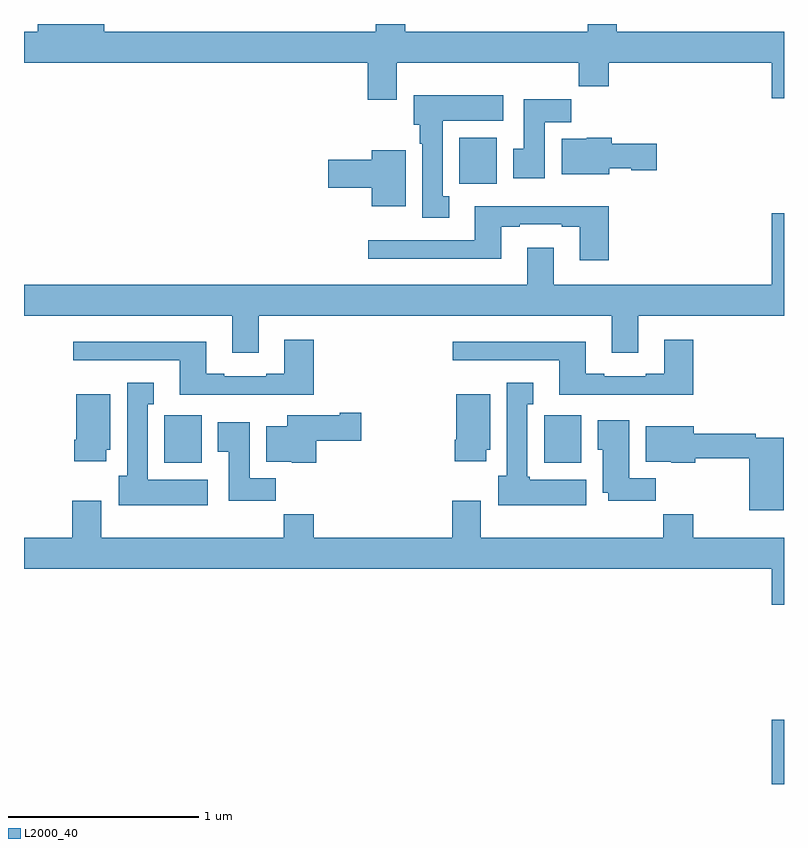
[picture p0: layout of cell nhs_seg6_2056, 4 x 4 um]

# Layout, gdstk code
import gdstk
lib = gdstk.Library(unit=1e-6, precision=1e-09)
def R(c, l, rs):  # rectangles x0, y0, x1, y1
    for r in rs: c.add(gdstk.rectangle(r[:2], r[2:], *l))
def P(c, l, *ps):  # polygons
    for p in ps: c.add(gdstk.Polygon(p, *l))
L2000_40 = (2000, 40)

nhs_seg6_2056 = lib.new_cell('nhs_seg6_2056')
R(nhs_seg6_2056, L2000_40, [(236.936,983.5,237,983.839), (233.739,985.19,233.935,985.44), (235.737,985.19,235.933,985.44), (235.292,986.66,235.489,986.902)])
P(nhs_seg6_2056, L2000_40, [(234.961,987.296),(235.921,987.296),(235.921,987.172),(236.078,987.172),(236.078,987.296),(236.936,987.296),(236.936,987.108),(237,987.108),(237,987.46),(236.12,987.46),(236.12,987.5),(235.967,987.5),(235.967,987.46),(235.007,987.46),(235.007,987.5),(234.851,987.5),(234.851,987.46),(233.422,987.46),(233.422,987.5),(233.072,987.5),(233.072,987.46),(233,987.46),(233,987.296),(234.809,987.296),(234.809,987.102),(234.961,987.102)],
  [(235.237,986.594),(235.204,986.594),(235.204,986.99),(235.522,986.99),(235.522,987.124),(235.052,987.124),(235.052,986.97),(235.082,986.97),(235.082,986.87),(235.097,986.87),(235.097,986.481),(235.237,986.481)],
  [(235.741,986.984),(235.88,986.984),(235.88,987.103),(235.631,987.103),(235.631,986.844),(235.574,986.844),(235.574,986.688),(235.741,986.688)],
  [(236.08,986.741),(236.196,986.741),(236.196,986.729),(236.329,986.729),(236.329,986.871),(236.093,986.871),(236.093,986.902),(235.962,986.902),(235.962,986.896),(235.829,986.896),(235.829,986.708),(236.08,986.708)],
  [(235.009,986.836),(234.83,986.836),(234.83,986.786),(234.6,986.786),(234.6,986.639),(234.83,986.639),(234.83,986.54),(235.009,986.54)],
  [(236.078,986.542),(235.373,986.542),(235.373,986.361),(234.813,986.361),(234.813,986.264),(235.513,986.264),(235.513,986.433),(235.609,986.433),(235.609,986.445),(235.829,986.445),(235.829,986.433),(235.925,986.433),(235.925,986.256),(236.078,986.256)],
  [(234.235,985.964),(236.093,985.964),(236.093,985.77),(236.233,985.77),(236.233,985.964),(237,985.964),(237,986.503),(236.936,986.503),(236.936,986.128),(235.789,986.128),(235.789,986.323),(235.649,986.323),(235.649,986.128),(233,986.128),(233,985.964),(234.095,985.964),(234.095,985.77),(234.235,985.77)],
  [(236.522,985.837),(236.369,985.837),(236.369,985.66),(236.273,985.66),(236.273,985.647),(236.053,985.647),(236.053,985.66),(235.957,985.66),(235.957,985.828),(235.257,985.828),(235.257,985.731),(235.817,985.731),(235.817,985.55),(236.522,985.55)],
  [(234.524,985.837),(234.371,985.837),(234.371,985.66),(234.275,985.66),(234.275,985.647),(234.055,985.647),(234.055,985.66),(233.959,985.66),(233.959,985.828),(233.259,985.828),(233.259,985.731),(233.819,985.731),(233.819,985.55),(234.524,985.55)],
  [(233.968,985.102),(233.65,985.102),(233.65,985.499),(233.683,985.499),(233.683,985.612),(233.543,985.612),(233.543,985.122),(233.498,985.122),(233.498,984.968),(233.968,984.968)],
  [(235.96,985.102),(235.662,985.102),(235.662,985.116),(235.648,985.116),(235.648,985.499),(235.681,985.499),(235.681,985.612),(235.541,985.612),(235.541,985.122),(235.496,985.122),(235.496,984.968),(235.96,984.968)],
  [(235.432,985.26),(235.453,985.26),(235.453,985.552),(235.274,985.552),(235.274,985.312),(235.267,985.312),(235.267,985.2),(235.432,985.2)],
  [(233.434,985.26),(233.455,985.26),(233.455,985.552),(233.276,985.552),(233.276,985.312),(233.264,985.312),(233.264,985.2),(233.434,985.2)],
  [(234.539,985.307),(234.775,985.307),(234.775,985.454),(234.662,985.454),(234.662,985.441),(234.386,985.441),(234.386,985.384),(234.275,985.384),(234.275,985.196),(234.408,985.196),(234.408,985.19),(234.539,985.19)],
  [(236.324,985.108),(236.185,985.108),(236.185,985.414),(236.021,985.414),(236.021,985.26),(236.045,985.26),(236.045,985.034),(236.075,985.034),(236.075,984.99),(236.324,984.99)],
  [(234.326,985.108),(234.187,985.108),(234.187,985.405),(234.02,985.405),(234.02,985.249),(234.077,985.249),(234.077,984.99),(234.326,984.99)],
  [(236.999,985.323),(236.852,985.323),(236.852,985.343),(236.524,985.343),(236.524,985.384),(236.273,985.384),(236.273,985.196),(236.406,985.196),(236.406,985.19),(236.532,985.19),(236.532,985.215),(236.816,985.215),(236.816,984.942),(236.999,984.942)],
  [(237,984.796),(236.522,984.796),(236.522,984.92),(236.365,984.92),(236.365,984.796),(235.405,984.796),(235.405,984.991),(235.253,984.991),(235.253,984.796),(234.524,984.796),(234.524,984.92),(234.367,984.92),(234.367,984.796),(233.407,984.796),(233.407,984.991),(233.255,984.991),(233.255,984.796),(233,984.796),(233,984.632),(236.936,984.632),(236.936,984.444),(237,984.444)])

lib.write_gds('nhs_seg6_2056.gds')
